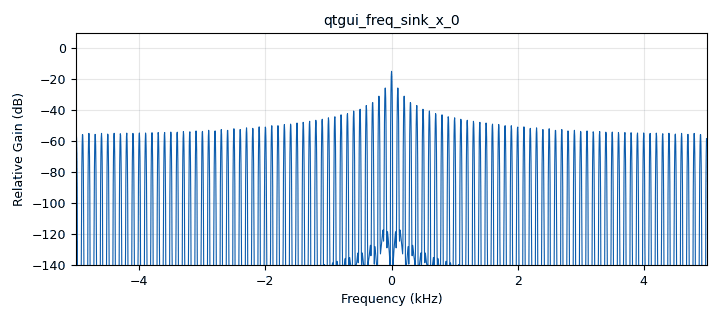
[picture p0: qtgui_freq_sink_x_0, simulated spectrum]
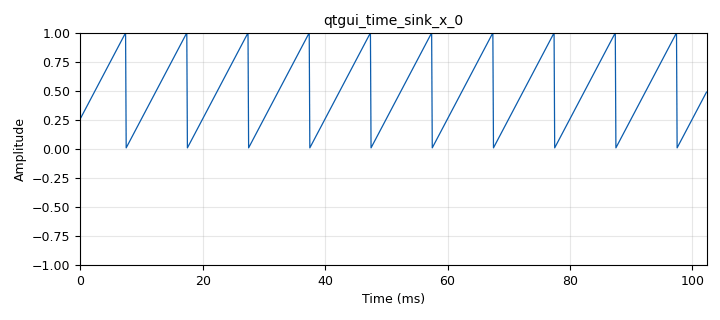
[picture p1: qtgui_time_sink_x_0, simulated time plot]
options:
  parameters:
    generate_options: qt_gui
    id: parte3_12
    output_language: python
    title: Not titled yet
  states: {}

blocks:
- name: A
  id: variable_qtgui_range
  parameters:
    comment: A
    start: '0'
    step: '0.1'
    stop: '100'
    value: '1'
  states: {}
- name: samp_rate
  id: variable
  parameters:
    value: '10000'
  states: {}
- name: analog_sig_source_x_0
  id: analog_sig_source_x
  parameters:
    amp: A
    freq: '100'
    offset: '0'
    phase: '0'
    samp_rate: samp_rate
    type: float
    waveform: analog.GR_SAW_WAVE
  states: {}
- name: practica3_0
  id: practica3
  parameters:
    l_vector: '1024'
  states: {}
- name: qtgui_freq_sink_x_0
  id: qtgui_freq_sink_x
  parameters:
    bw: samp_rate
    fc: '0'
    fftsize: '2048'
    type: float
  states: {}
- name: qtgui_time_sink_x_0
  id: qtgui_time_sink_x
  parameters:
    size: '1024'
    srate: samp_rate
    type: float
  states: {}

connections:
- [analog_sig_source_x_0, '0', practica3_0, '0']
- [analog_sig_source_x_0, '0', qtgui_freq_sink_x_0, '0']
- [analog_sig_source_x_0, '0', qtgui_time_sink_x_0, '0']

metadata:
  file_format: 1
  grc_version: 3.10.5.1
